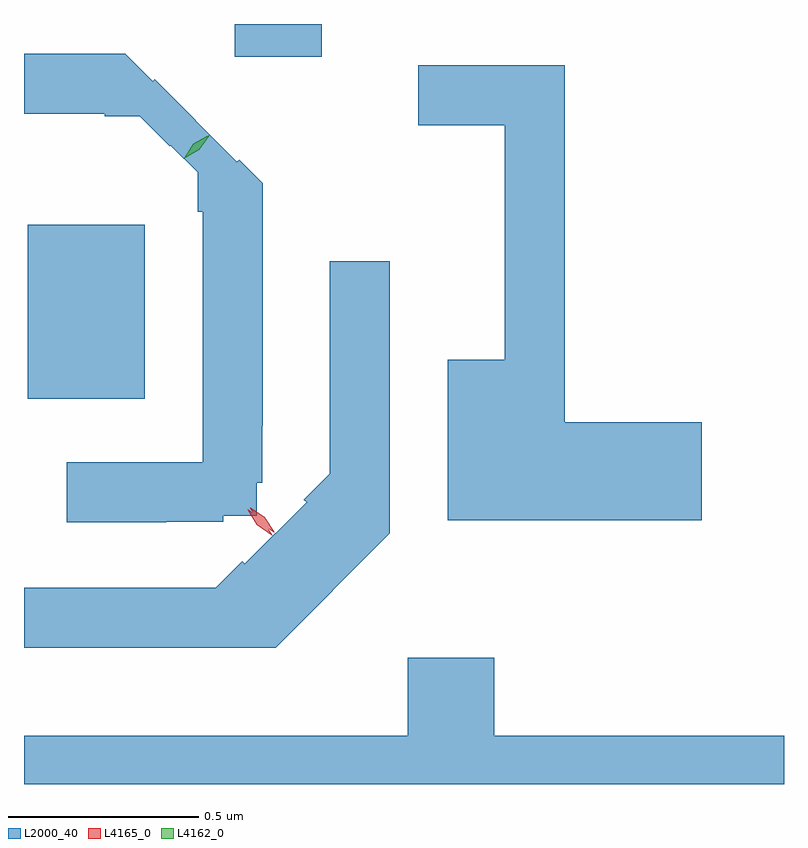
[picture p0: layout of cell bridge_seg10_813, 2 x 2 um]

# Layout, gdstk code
import gdstk
lib = gdstk.Library(unit=1e-6, precision=1e-09)
def R(c, l, rs):  # rectangles x0, y0, x1, y1
    for r in rs: c.add(gdstk.rectangle(r[:2], r[2:], *l))
def P(c, l, *ps):  # polygons
    for p in ps: c.add(gdstk.Polygon(p, *l))
L2000_40 = (2000, 40)
L4162_0 = (4162, 0)
L4165_0 = (4165, 0)

bridge_seg10_813 = lib.new_cell('bridge_seg10_813')
R(bridge_seg10_813, L2000_40, [(607.031,2155.031,607.339,2155.489), (607.576,2155.931,607.804,2156.017)])
P(bridge_seg10_813, L2000_40, [(607.395,2154.707),(607.545,2154.707),(607.545,2154.723),(607.633,2154.723),(607.633,2154.81),(607.648,2154.81),(607.648,2154.96),(607.649,2154.96),(607.649,2155.598),(607.587,2155.66),(607.581,2155.655),(607.365,2155.871),(607.36,2155.867),(607.288,2155.939),(607.021,2155.939),(607.021,2155.781),(607.233,2155.781),(607.233,2155.774),(607.325,2155.774),(607.405,2155.695),(607.407,2155.697),(607.478,2155.627),(607.478,2155.523),(607.491,2155.523),(607.491,2154.864),(607.133,2154.864),(607.133,2154.706),(607.395,2154.706)],
  [(608.804,2154.969),(608.444,2154.969),(608.444,2155.909),(608.058,2155.909),(608.058,2155.751),(608.286,2155.751),(608.286,2155.134),(608.136,2155.134),(608.136,2154.711),(608.804,2154.711)],
  [(607.984,2154.677),(607.984,2155.393),(607.826,2155.393),(607.826,2154.834),(607.757,2154.765),(607.765,2154.758),(607.602,2154.596),(607.595,2154.603),(607.526,2154.534),(607.021,2154.534),(607.021,2154.376),(607.684,2154.376)],
  [(609.021,2154.144),(608.259,2154.144),(608.259,2154.349),(608.031,2154.349),(608.031,2154.144),(607.021,2154.144),(607.021,2154.017),(609.021,2154.017)])
P(bridge_seg10_813, L4162_0, [(607.442,2155.662),(607.442,2155.663),(607.468,2155.7),(607.508,2155.724),(607.509,2155.724),(607.509,2155.723),(607.482,2155.686),(607.442,2155.662)],
  [(607.445,2155.668),(607.445,2155.668),(607.467,2155.702),(607.502,2155.722),(607.503,2155.722),(607.503,2155.721),(607.481,2155.687),(607.446,2155.668)])
P(bridge_seg10_813, L4165_0, [(607.673,2154.671),(607.634,2154.699),(607.61,2154.739),(607.61,2154.74),(607.61,2154.74),(607.649,2154.712),(607.674,2154.672),(607.674,2154.671)],
  [(607.678,2154.68),(607.641,2154.705),(607.617,2154.743),(607.617,2154.744),(607.618,2154.744),(607.655,2154.719),(607.679,2154.681),(607.679,2154.68)])

lib.write_gds('bridge_seg10_813.gds')
